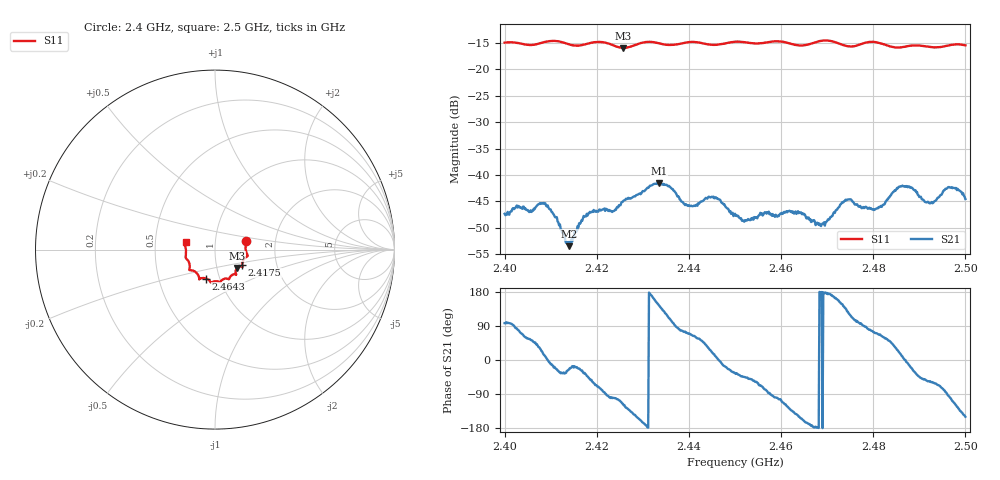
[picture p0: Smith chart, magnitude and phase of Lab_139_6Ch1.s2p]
# Hz S RI R 50
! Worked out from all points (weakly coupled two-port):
!   601 points, 2.4 GHz to 2.5 GHz, reference 50 ohm
!   highest |S21| = -41.57 dB at 2.4335 GHz (marker M1); lowest = -53.5 dB at 2.414 GHz (marker M2)
!   lowest |S11| = -15.9 dB at 2.4257 GHz (marker M3), VSWR 1.38, Z = 62.5 - j13.1 ohm
!   |S11| at or under -10 dB: start of sweep to end of sweep
!   S12 and S22 are empty: the file has one direction only
!   S11 on the Smith chart (normalised r, x): 2.4 GHz: 1.41, +0.14; 2.4175 GHz: 1.33, -0.23; 2.4643 GHz: 0.86, -0.29; 2.5 GHz: 0.72, +0.06
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2.4e9  0.1727 0.0489  -0.000537 0.00424  0 0  0 0
2.4085e9  0.1796 -0.0251  0.00527 0.00131  0 0  0 0
2.414e9  0.1661 -0.0469  0.00191 -0.000892  0 0  0 0
2.416667e9  0.1526 -0.0741  0.00328 -0.00171  0 0  0 0
2.4175e9  0.1516 -0.0834  0.00324 -0.00241  0 0  0 0
2.425667e9  0.1232 -0.1022  -0.00241 -0.00503  0 0  0 0
2.433333e9  0.1129 -0.1371  -0.00695 0.00456  0 0  0 0
2.4335e9  0.1118 -0.1369  -0.00674 0.00492  0 0  0 0
2.439333e9  0.0801 -0.1608  0.00163 0.00502  0 0  0 0
2.445333e9  0.0531 -0.1624  0.00599 0.0017  0 0  0 0
2.45e9  0.0287 -0.1808  0.00353 -0.00243  0 0  0 0
2.452e9  0.0226 -0.18  0.00256 -0.00253  0 0  0 0
2.464333e9  -0.0498 -0.1611  -0.00398 -0.00191  0 0  0 0
2.466667e9  -0.076 -0.1593  -0.00365 -0.000498  0 0  0 0
2.469e9  -0.0879 -0.1658  -0.00346 -1.66e-05  0 0  0 0
2.4745e9  -0.1016 -0.1312  -0.00353 0.00464  0 0  0 0
2.480167e9  -0.1435 -0.1124  0.00131 0.00445  0 0  0 0
2.483333e9  -0.1407 -0.09  0.00383 0.00472  0 0  0 0
2.486333e9  -0.1509 -0.0606  0.00781 0.00129  0 0  0 0
2.492e9  -0.1618 -0.0257  0.00309 -0.00456  0 0  0 0
2.4965e9  -0.1678 0.0238  -0.000864 -0.00761  0 0  0 0
2.5e9  -0.1639 0.0427  -0.0051 -0.00298  0 0  0 0
